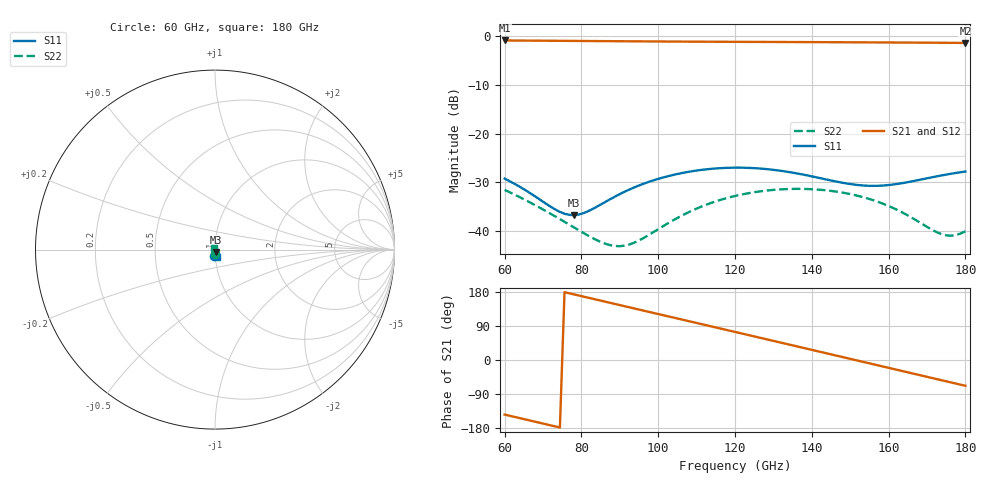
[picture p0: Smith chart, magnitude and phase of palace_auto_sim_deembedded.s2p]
! Created with skrf 1.11.0 (http://scikit-rf.org).
# GHz S DB R 50.0
!freq dBS11 angS11 dBS21 angS21 dBS12 angS12 dBS22 angS22
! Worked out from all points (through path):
!   101 points, 60 GHz to 180 GHz, reference 50 ohm
!   highest |S21| = -0.85 dB at 60 GHz (marker M1); lowest = -1.4 dB at 180 GHz (marker M2)
!   group delay of S21, straight-line fit = 6.57 ps
!   lowest |S11| = -36.8 dB at 78 GHz (marker M3), VSWR 1.03, Z = 50.5 - j1.38 ohm
!   |S11| at or under -10 dB: start of sweep to end of sweep
!   |S22| runs from -43.2 to -31.4 dB; largest |S21 - S12| = 1e-13
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60  -29.28 -99.1  -0.85 -144.0  -0.85 -144.0  -31.60 -86.0
69.6  -33.81 -99.3  -0.90 -166.8  -0.90 -166.8  -35.45 -89.0
74.4  -36.13 -86.6  -0.93 -178.2  -0.93 -178.2  -37.61 -86.4
78  -36.79 -70.5  -0.94 173.3  -0.94 173.3  -39.29 -81.8
80.4  -36.42 -59.8  -0.96 167.6  -0.96 167.6  -40.40 -77.2
86.4  -34.00 -44.4  -0.99 153.4  -0.99 153.4  -42.72 -57.8
90  -32.46 -42.0  -1.01 144.9  -1.01 144.9  -43.18 -41.2
93.6  -31.14 -42.5  -1.03 136.4  -1.03 136.4  -42.51 -25.0
100.8  -29.15 -48.0  -1.06 119.4  -1.06 119.4  -39.30 -7.1
110.4  -27.57 -59.3  -1.10 96.8  -1.10 96.8  -35.31 -7.7
115.2  -27.18 -65.6  -1.12 85.4  -1.12 85.4  -33.90 -13.0
120  -27.03 -71.9  -1.13 74.1  -1.13 74.1  -32.85 -20.0
129.6  -27.44 -83.2  -1.16 51.4  -1.16 51.4  -31.63 -37.0
135.6  -28.13 -88.3  -1.18 37.2  -1.18 37.2  -31.39 -49.2
140.4  -28.88 -90.3  -1.19 25.8  -1.19 25.8  -31.48 -59.7
146.4  -29.88 -89.5  -1.21 11.6  -1.21 11.6  -31.95 -73.9
151.2  -30.52 -85.9  -1.23 0.2  -1.23 0.2  -32.67 -86.5
160.8  -30.53 -74.7  -1.27 -22.6  -1.27 -22.6  -35.19 -116.7
166.8  -29.73 -70.1  -1.29 -36.8  -1.29 -36.8  -37.67 -143.0
174  -28.59 -69.1  -1.33 -53.8  -1.33 -53.8  -40.75 166.5
176.4  -28.26 -69.7  -1.34 -59.5  -1.34 -59.5  -41.01 144.3
180  -27.82 -71.1  -1.35 -68.1  -1.35 -68.1  -40.12 111.8
